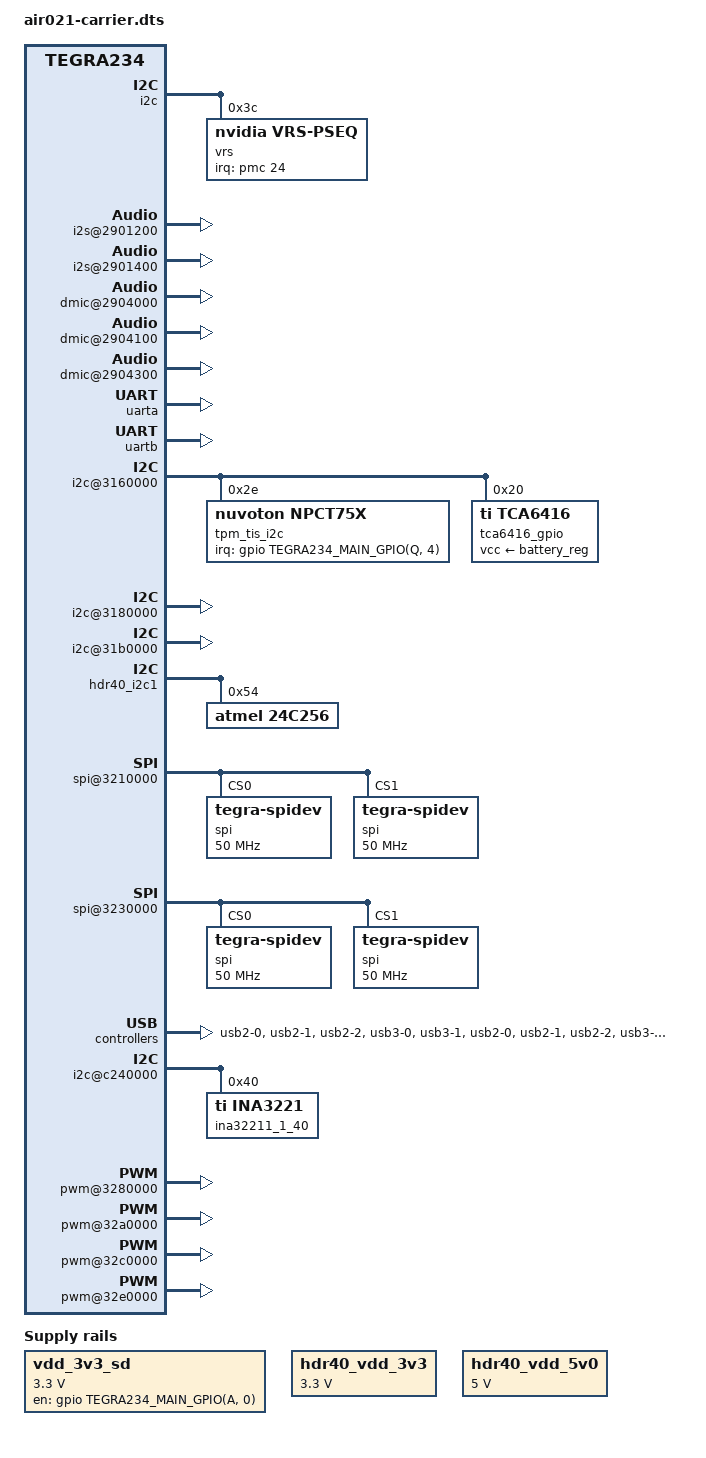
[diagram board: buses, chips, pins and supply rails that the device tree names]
// SPDX-License-Identifier: GPL-2.0-only
// SPDX-FileCopyrightText: Copyright (c) 2023-2024, NVIDIA CORPORATION & AFFILIATES.  All rights reserved.

/dts-v1/;

#include "nv-soc/tegra234-overlay.dtsi"
#include "nv-soc/tegra234-soc-thermal.dtsi"
#include "nv-soc/tegra234-soc-thermal-slowdown-corepair.dtsi"
#include "nv-soc/tegra234-soc-thermal-shutdown.dtsi"
#include "nv-soc/tegra234-soc-thermal-trip-event.dtsi"
#include "nv-soc/tegra234-soc-audio-dai-links.dtsi"
#include "tegra234-p3768-0000.dtsi"
#include "tegra234-p3767-0000.dtsi"
#include "nv-soc/tegra234-soc-camera.dtsi"
#include "tegra234-dcb-p3737-0000-p3701-0000.dtsi"
#include <dt-bindings/gpio/tegra234-gpio.h>

/ {
	board {
		compatible = "proc-board";
		board-type = "AIR-021 A1";
	};
	aliases {
		serial1 = &uartb;
		serial2 = &uarta;
	};

	bpmp {
		i2c {
			vrs@3c {
				compatible = "nvidia,vrs-pseq";
				reg = <0x3c>;
				interrupt-parent = <&pmc>;
				/* VRS Wake ID is 24 */
				interrupts = <24 IRQ_TYPE_LEVEL_LOW>;
				interrupt-controller;
				#interrupt-cells = <2>;
				status = "okay";
			};
		};
	};

	bus@0 {
		actmon@d230000 {
			status = "okay";
		};

		pinmux@2430000 {
			status = "okay";
		};

		aconnect@2900000 {
			ahub@2900800 {
				i2s@2901200 {
					status = "okay";
				};

				i2s@2901400 {
					status = "okay";
				};

				dmic@2904000 {
					status = "okay";
				};

				dmic@2904100 {
					status = "okay";
				};

				dmic@2904300 {
					status = "okay";
				};

				dspk@2905000 {
					status = "okay";
				};

				dspk@2905100 {
					status = "okay";
				};

				afc@2907000 {
					status = "okay";
				};

				afc@2907100 {
					status = "okay";
				};

				afc@2907200 {
					status = "okay";
				};

				afc@2907300 {
					status = "okay";
				};

				afc@2907400 {
					status = "okay";
				};

				afc@2907500 {
					status = "okay";
				};

				arad@290e400 {
					status = "okay";
				};
			};
		};

		uarta: serial@3100000 {
			compatible = "nvidia,tegra194-hsuart";
			reset-names = "serial";
			status = "okay";
		};

		uartb: serial@3110000 {
			compatible = "nvidia,tegra194-hsuart";
			reset-names = "serial";
			status = "okay";
		};

		i2c@3160000 {
			status = "okay";
			tpm_tis_i2c: tpm_tis_i2c@2e {
				compatible = "nuvoton,npct75x", "tcg,tpm-tis-i2c";
				crc-checksum;
				//tpm-pirq = <&gpio 24 GPIO_ACTIVE_HIGH>;
				tpm-pirq = <TEGRA234_MAIN_GPIO(Q, 4) 0x01>;
				interrupt-parent = <&gpio>;
				interrupts = <TEGRA234_MAIN_GPIO(Q, 4) 0x01>;
				reg = <0x2e>;
				status = "okay";
			};
			tca6416_gpio: tca6416_gpio@20 {
				compatible = "ti,tca6416";
				reg = <0x20>;
				gpio-controller;
				#gpio-cells = <0x2>;
				vcc-supply = <&battery_reg>;
				status = "okay";
			};
		};

		i2c@3180000 {
			status = "okay";
		};

		i2c@31b0000 {
			status = "okay";
		};

		hdr40_i2c1: i2c@c250000 {
			status = "okay";
			24c256@54 {
				compatible = "atmel,24c256";
				reg = <0x54>;
			};
		};

		/* SPI1, 40pin header, Pin 19(MOSI), Pin 21(MISO), Pin 23(CLK), Pin 24(CS) */
		spi@3210000{
			status = "okay";
			spi@0 {
				compatible = "tegra-spidev";
				reg = <0x0>;
				spi-max-frequency = <50000000>;
				controller-data {
					nvidia,enable-hw-based-cs;
					nvidia,rx-clk-tap-delay = <0x10>;
					nvidia,tx-clk-tap-delay = <0x0>;
				};
			};
			spi@1 {
				compatible = "tegra-spidev";
				reg = <0x1>;
				spi-max-frequency = <50000000>;
				controller-data {
					nvidia,enable-hw-based-cs;
					nvidia,rx-clk-tap-delay = <0x10>;
					nvidia,tx-clk-tap-delay = <0x0>;
				};
			};

		};

		/* SPI3, 40pin header, Pin 37(MOSI), Pin 22(MISO), Pin 13(CLK), Pin 18(CS) */
		spi@3230000{
			status = "okay";
			spi@0 {
				compatible = "tegra-spidev";
				reg = <0x0>;
				spi-max-frequency = <50000000>;
				controller-data {
					nvidia,enable-hw-based-cs;
					nvidia,rx-clk-tap-delay = <0x10>;
					nvidia,tx-clk-tap-delay = <0x0>;
				};
			};
			spi@1 {
				compatible = "tegra-spidev";
				reg = <0x1>;
				spi-max-frequency = <50000000>;
				controller-data {
					nvidia,enable-hw-based-cs;
					nvidia,rx-clk-tap-delay = <0x10>;
					nvidia,tx-clk-tap-delay = <0x0>;
				};
			};
		};

		padctl@3520000 {
			pads {
				usb2 {
					lanes {
						usb2-0 {
							nvidia,function = "xusb";
							status = "okay";
						};
						usb2-1 {
							nvidia,function = "xusb";
							status = "okay";
						};
						usb2-2 {
							nvidia,function = "xusb";
							status = "okay";
						};
					};
				};
				usb3 {
					lanes {
						usb3-0 {
							nvidia,function = "xusb";
							status = "okay";
						};
						usb3-1 {
							nvidia,function = "xusb";
							status = "okay";
						};
					};
				};
			};
			ports {
				usb2-0 {
					mode = "otg";
					status = "okay";
					usb-role-switch;
					role-switch-default-mode = "peripheral";
				};
				usb2-1 {
					mode = "host";
					status = "okay";
				};
				usb2-2 {
					mode = "host";
					status = "okay";
				};
				usb3-0 {
					nvidia,usb2-companion = <1>;
					status = "okay";
				};
				usb3-1 {
					nvidia,usb2-companion = <2>;
					status = "okay";
				};
			};
		};

		usb@3550000 {
			status = "okay";
			phys = <&{/bus@0/padctl@3520000/pads/usb2/lanes/usb2-0}>;
			phy-names = "usb2-0";
		};

		usb@3610000 {
			status = "okay";
			phys = <&{/bus@0/padctl@3520000/pads/usb2/lanes/usb2-1}>,
				<&{/bus@0/padctl@3520000/pads/usb2/lanes/usb2-2}>,
				<&{/bus@0/padctl@3520000/pads/usb3/lanes/usb3-0}>,
				<&{/bus@0/padctl@3520000/pads/usb3/lanes/usb3-1}>;
			phy-names = "usb2-1", "usb2-2", "usb3-0", "usb3-1";
		};

		i2c@c240000 {
			status = "okay";
			ina32211_1_40: ina3221@40 {
				compatible = "ti,ina3221";
				reg = <0x40>;
				#address-cells = <1>;
				#size-cells = <0>;
				channel@0 {
					reg = <0x0>;
					label = "VDD_IN";
					shunt-resistor-micro-ohms = <5000>;
				};
				channel@1 {
					reg = <0x1>;
					label = "VDD_CPU_GPU_CV";
					shunt-resistor-micro-ohms = <5000>;
				};
				channel@2 {
					reg = <0x2>;
					label = "VDD_SOC";
					shunt-resistor-micro-ohms = <5000>;
				};
			};
		};

		pcie-ep@14160000 {/* C4 - End Point */
			phys = <&p2u_hsio_4>, <&p2u_hsio_5>, <&p2u_hsio_6>,
					<&p2u_hsio_7>;
			phy-names = "p2u-0", "p2u-1", "p2u-2", "p2u-3";
			reset-gpios = <&gpio
					TEGRA234_MAIN_GPIO(L, 1)
					GPIO_ACTIVE_LOW>;
			nvidia,refclk-select-gpios = <&gpio_aon
							TEGRA234_AON_GPIO(AA, 4)
							GPIO_ACTIVE_HIGH>;
		};

		/* PWM1, 40pin header, pin 15 */
		pwm@3280000 {
			status = "okay";
		};

		/* PWM3, FAN */
		pwm@32a0000 {
			status = "okay";
		};

		/* PWM5, 40pin header, pin 33 */
		pwm@32c0000 {
			status = "okay";
		};

		/* PWM7, 40pin header, pin 32 */
		pwm@32e0000 {
			status = "okay";
		};

		tachometer@39c0000 {
			status = "okay";
			upper-threshold = <0xfffff>;
			lower-threshold = <0x0>;
		};

		hsp@3d00000 {
			status = "okay";
		};

		aon@c000000 {
			status = "okay";
		};

		hardware-timestamp@c1e0000 {
			status = "okay";
			nvidia,num-slices = <3>;
		};

		mttcan@c310000 {
			status = "okay";
		};

		hwpm@f100000 {
			status = "okay";
		};

		mc-hwpm@2c10000 {
			status = "okay";
		};

		host1x@13e00000 {
			nvdec@15480000 {
				status = "okay";
			};

			nvenc@154c0000 {
				status = "okay";
			};

			nvdla0@15880000 {
				status = "okay";
			};

			nvdla1@158c0000 {
				status = "okay";
			};

			ofa@15a50000 {
				status = "okay";
			};

			pva0@16000000 {
				status = "okay";

				pva0_niso1_ctx0 {
					status = "okay";
				};

				pva0_niso1_ctx1 {
					status = "okay";
				};

				pva0_niso1_ctx2 {
					status = "okay";
				};

				pva0_niso1_ctx3 {
					status = "okay";
				};

				pva0_niso1_ctx4 {
					status = "okay";
				};

				pva0_niso1_ctx5 {
					status = "okay";
				};

				pva0_niso1_ctx6 {
					status = "okay";
				};

				pva0_niso1_ctx7 {
					status = "okay";
				};
			};

			nvjpg@15380000 {
				status = "okay";
			};

			nvjpg@15540000 {
				status = "okay";
			};
		};

		pcie@14100000 {
			nvidia,pex-wake-gpios = <&gpio TEGRA234_MAIN_GPIO(L, 2) IRQ_TYPE_LEVEL_LOW>;
		};
	};

	cpus {
		idle-states {
			c7 {
				status = "okay";
			};
		};
	};

	nvpmodel {
		status = "okay";
	};

	soctherm-oc-event {
		status = "okay";
	};

	thermal-zones {
		cpu-thermal {
			status = "okay";
		};

		gpu-thermal {
			status = "okay";
		};

		cv0-thermal {
			status = "okay";
		};

		cv1-thermal {
			status = "okay";
		};

		cv2-thermal {
			status = "okay";
		};

		soc0-thermal {
			status = "okay";
		};

		soc1-thermal {
			status = "okay";
		};

		soc2-thermal {
			status = "okay";
		};
	};

	dce@d800000 {
		status = "okay";
	};

	display@13800000 {
		/* os_gpio_hotplug_a is used for hotplug */
		os_gpio_hotplug_a = <&gpio TEGRA234_MAIN_GPIO(M, 0) GPIO_ACTIVE_HIGH>;
		status = "okay";
	};

	tegra-hsp@b950000 {
		status = "okay";
	};

	reserved-memory {
		linux,cma {
			size = <0x0 0x20000000>;
		};
	};

	vdd_3v3_sd: regulator-vdd-3v3-sd {
		compatible = "regulator-fixed";
		regulator-name = "VDD_3V3_SD";
		regulator-min-microvolt = <3300000>;
		regulator-max-microvolt = <3300000>;
		gpio = <&gpio TEGRA234_MAIN_GPIO(A, 0) GPIO_ACTIVE_HIGH>;
		enable-active-high;
	};

	hdr40_vdd_3v3: regulator-vdd-3v3-sys {
		/* BUCK_3V3_EN enable is driven by button MCU */
		compatible = "regulator-fixed";
		regulator-name = "VDD-3V3-SYS";
		regulator-min-microvolt = <3300000>;
		regulator-max-microvolt = <3300000>;
		regulator-always-on;
	};

	hdr40_vdd_5v0: battery_reg: regulator@0 {
		compatible = "regulator-fixed";
		reg = <0>;
		regulator-name = "vdd-ac-bat";
		regulator-min-microvolt = <5000000>;
		regulator-max-microvolt = <5000000>;
		regulator-always-on;
	};
};

/delete-node/ &{/gpio-keys/key-suspend};
